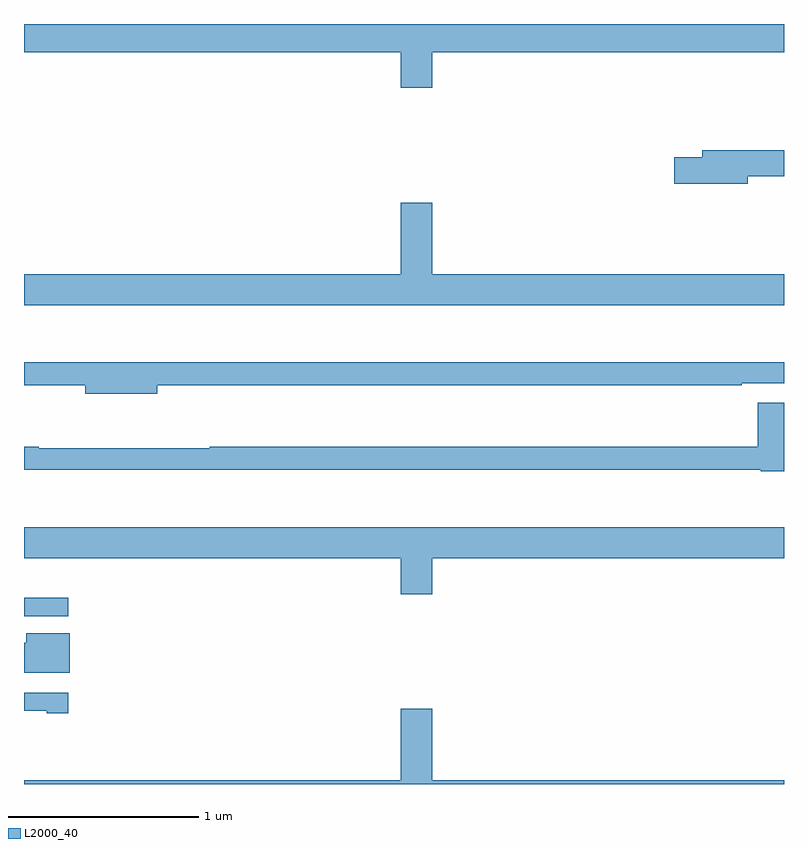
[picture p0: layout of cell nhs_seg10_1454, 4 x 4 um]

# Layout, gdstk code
import gdstk
lib = gdstk.Library(unit=1e-6, precision=1e-09)
def R(c, l, rs):  # rectangles x0, y0, x1, y1
    for r in rs: c.add(gdstk.rectangle(r[:2], r[2:], *l))
def P(c, l, *ps):  # polygons
    for p in ps: c.add(gdstk.Polygon(p, *l))
L2000_40 = (2000, 40)

nhs_seg10_1454 = lib.new_cell('nhs_seg10_1454')
R(nhs_seg10_1454, L2000_40, [(187,1261.383,187.234,1261.479)])
P(nhs_seg10_1454, L2000_40, [(189.148,1264.352),(191,1264.352),(191,1264.5),(187,1264.5),(187,1264.352),(188.984,1264.352),(188.984,1264.164),(189.148,1264.164)],
  [(190.81,1263.7),(191,1263.7),(191,1263.836),(190.571,1263.836),(190.571,1263.8),(190.422,1263.8),(190.422,1263.658),(190.81,1263.658)],
  [(191,1263.184),(189.148,1263.184),(189.148,1263.559),(188.984,1263.559),(188.984,1263.184),(187,1263.184),(187,1263.02),(191,1263.02)],
  [(187.702,1262.598),(190.778,1262.598),(190.778,1262.61),(191,1262.61),(191,1262.719),(187,1262.719),(187,1262.598),(187.322,1262.598),(187.322,1262.555),(187.702,1262.555)],
  [(191,1262.506),(190.862,1262.506),(190.862,1262.275),(187.978,1262.275),(187.978,1262.267),(187.078,1262.267),(187.078,1262.275),(187,1262.275),(187,1262.154),(190.878,1262.154),(190.878,1262.146),(191,1262.146)],
  [(189.148,1261.688),(191,1261.688),(191,1261.852),(187,1261.852),(187,1261.688),(188.984,1261.688),(188.984,1261.5),(189.148,1261.5)],
  [(187.24,1261.294),(187.013,1261.294),(187.013,1261.243),(187,1261.243),(187,1261.085),(187.24,1261.085)],
  [(187.234,1260.981),(187,1260.981),(187,1260.885),(187.121,1260.885),(187.121,1260.873),(187.234,1260.873)],
  [(191,1260.52),(189.148,1260.52),(189.148,1260.895),(188.984,1260.895),(188.984,1260.52),(187,1260.52),(187,1260.5),(191,1260.5)])

lib.write_gds('nhs_seg10_1454.gds')
